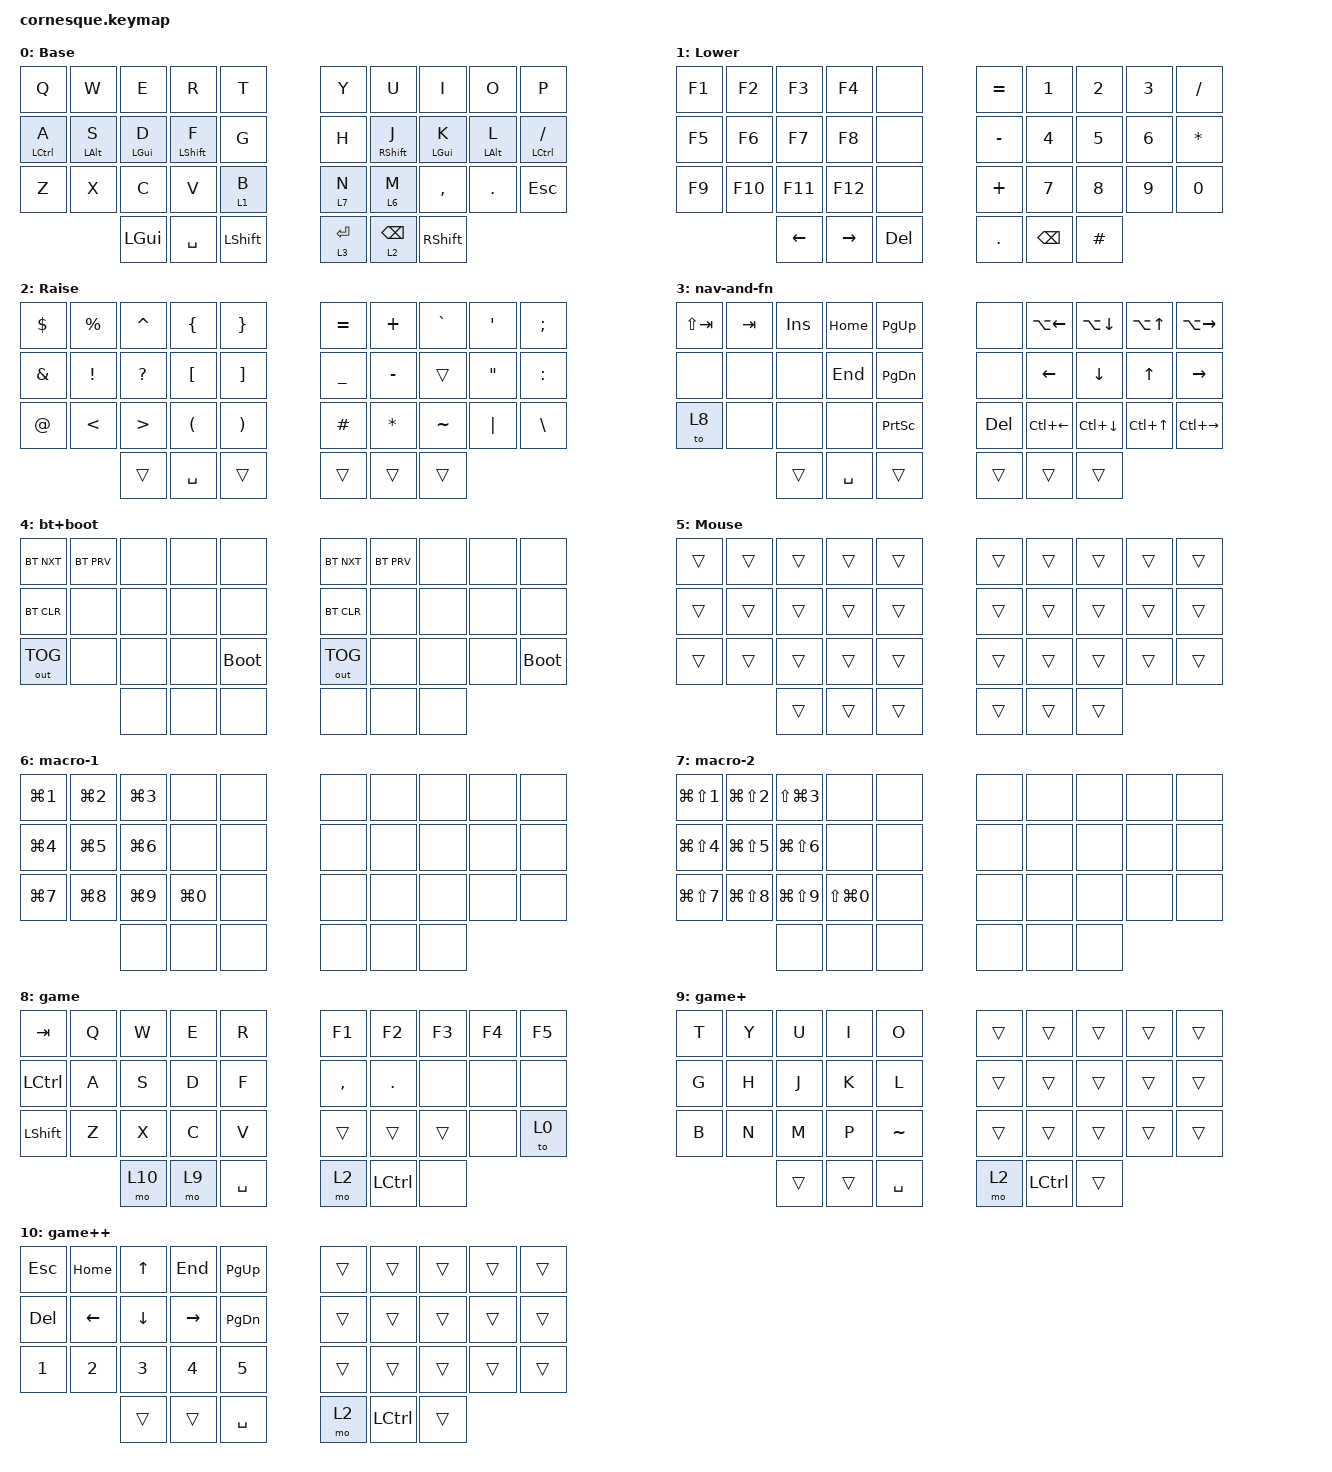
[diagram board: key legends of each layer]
/*
 * Copyright (c) 2020 The ZMK Contributors
 *
 * SPDX-License-Identifier: MIT
 */

#include <behaviors.dtsi>
#include <dt-bindings/zmk/bt.h>
#include <dt-bindings/zmk/keys.h>
#include <dt-bindings/zmk/outputs.h>

#define HM_TAPPING_TERM 300
#define HM_TAPPING_TERM_FAST 200
#define HM_PRIOR_IDLE 150
#define COMBO_TERM_FAST 35
#define COMBO_TERM_SLOW 40
#define COMBO_PRIOR_IDLE 100

/ {
    behaviors {
        lt: layer_tap {
            compatible = "zmk,behavior-hold-tap";
            #binding-cells = <2>;
            flavor = "balanced";
            tapping-term-ms = <240>;
            quick-tap-ms = <0>;
            bindings = <&mo>, <&kp>;
        };

        bhm: balanced_homerow_mods {
            compatible = "zmk,behavior-hold-tap";
            #binding-cells = <2>;
            tapping-term-ms = <HM_TAPPING_TERM>;
            quick-tap-ms = <175>;
            require-prior-idle-ms = <HM_PRIOR_IDLE>;
            flavor = "balanced";
            bindings = <&kp>, <&kp>;
        };
    };

    combos {
        compatible = "zmk,combos";

        escape {
            bindings = <&kp ESCAPE>;
            key-positions = <8 9>;
            require-prior-idle-ms = <COMBO_PRIOR_IDLE>;
        };

        tab {
            bindings = <&kp TAB>;
            key-positions = <0 1>;
            require-prior-idle-ms = <COMBO_PRIOR_IDLE>;
        };

        delete {
            bindings = <&kp DELETE>;
            key-positions = <29 28>;
            require-prior-idle-ms = <COMBO_PRIOR_IDLE>;
        };

        bt+boot_right {
            bindings = <&mo 4>;
            key-positions = <5 6 7 8>;
        };

        bt+boot_left {
            bindings = <&mo 4>;
            key-positions = <1 2 3 4>;
        };

        caps_word {
            bindings = <&caps_word>;
            key-positions = <13 16>;
        };
    };

    keymap {
        compatible = "zmk,keymap";

        Base {
            label = "Base";
            bindings = <
  &kp Q         &kp W        &kp E         &kp R          &kp T             &kp Y         &kp U               &kp I            &kp O            &kp P
  &bhm LCTRL A  &bhm LALT S  &bhm LGUI D   &bhm LSHIFT F  &kp G             &kp H         &bhm RIGHT_SHIFT J  &bhm LEFT_GUI K  &bhm LEFT_ALT L  &bhm LCTRL SLASH
  &kp Z         &kp X        &kp C         &kp V          &lt 1 B           &lt 7 N       &lt 6 M             &kp COMMA        &kp DOT          &kp ESCAPE
                             &kp LEFT_GUI  &kp SPACE      &kp LEFT_SHIFT    &lt 3 RETURN  &lt 2 BACKSPACE     &kp RIGHT_SHIFT
            >;
        };

        Lower {
            label = "Lower";
            bindings = <
  &kp F1  &kp F2   &kp F3    &kp F4     &none         &kp EQUAL   &kp N1         &kp N2    &kp N3        &kp SLASH
  &kp F5  &kp F6   &kp F7    &kp F8     &none         &kp MINUS   &kp N4         &kp N5    &kp NUMBER_6  &kp ASTRK
  &kp F9  &kp F10  &kp F11   &kp F12    &none         &kp PLUS    &kp N7         &kp N8    &kp N9        &kp N0
                   &kp LEFT  &kp RIGHT  &kp DELETE    &kp PERIOD  &kp BACKSPACE  &kp HASH
            >;
        };

        Raise {
            label = "Raise";
            bindings = <
  &kp DOLLAR  &kp PERCENT    &kp CARET         &kp LBRC   &kp RBRC    &kp EQUAL  &kp PLUS      &kp GRAVE  &kp SINGLE_QUOTE   &kp SEMICOLON
  &kp AMPS    &kp EXCL       &kp QMARK         &kp LBKT   &kp RBKT    &kp UNDER  &kp MINUS     &trans     &kp DOUBLE_QUOTES  &kp COLON
  &kp AT      &kp LESS_THAN  &kp GREATER_THAN  &kp LPAR   &kp RPAR    &kp HASH   &kp ASTERISK  &kp TILDE  &kp PIPE           &kp BACKSLASH
                             &trans            &kp SPACE  &trans      &trans     &trans        &trans
            >;
        };

        nav-and-fn {
            label = "nav-and-fn";
            bindings = <
  &kp LS(TAB)  &kp TAB  &kp INSERT  &kp HOME   &kp PAGE_UP        &none       &kp LA(LEFT)  &kp LA(DOWN)  &kp LA(UP)  &kp LA(RIGHT)
  &none        &none    &none       &kp END    &kp PAGE_DOWN      &none       &kp LEFT      &kp DOWN      &kp UP      &kp RIGHT
  &to 8        &none    &none       &none      &kp PRINTSCREEN    &kp DELETE  &kp LC(LEFT)  &kp LC(DOWN)  &kp LC(UP)  &kp LC(RIGHT)
                        &trans      &kp SPACE  &trans             &trans      &trans        &trans
            >;
        };

        bt+boot {
            label = "bt+boot";
            bindings = <
  &bt BT_NXT    &bt BT_PRV  &none  &none  &none          &bt BT_NXT    &bt BT_PRV  &none  &none  &none
  &bt BT_CLR    &none       &none  &none  &none          &bt BT_CLR    &none       &none  &none  &none
  &out OUT_TOG  &none       &none  &none  &bootloader    &out OUT_TOG  &none       &none  &none  &bootloader
                            &none  &none  &none          &none         &none       &none
            >;
        };

        Mouse {
            bindings = <
  &trans  &trans  &trans  &trans  &trans    &trans  &trans  &trans  &trans  &trans
  &trans  &trans  &trans  &trans  &trans    &trans  &trans  &trans  &trans  &trans
  &trans  &trans  &trans  &trans  &trans    &trans  &trans  &trans  &trans  &trans
                  &trans  &trans  &trans    &trans  &trans  &trans
            >;
        };

        macro-1 {
            bindings = <
  &kp LG(N1)  &kp LG(N2)  &kp LG(N3)  &none       &none    &none  &none  &none  &none  &none
  &kp LG(N4)  &kp LG(N5)  &kp LG(N6)  &none       &none    &none  &none  &none  &none  &none
  &kp LG(N7)  &kp LG(N8)  &kp LG(N9)  &kp LG(N0)  &none    &none  &none  &none  &none  &none
                          &none       &none       &none    &none  &none  &none
            >;
        };

        macro-2 {
            bindings = <
  &kp LG(LS(N1))  &kp LG(LS(N2))  &kp LS(LG(N3))  &none           &none    &none  &none  &none  &none  &none
  &kp LG(LS(N4))  &kp LG(LS(N5))  &kp LG(LS(N6))  &none           &none    &none  &none  &none  &none  &none
  &kp LG(LS(N7))  &kp LG(LS(N8))  &kp LG(LS(N9))  &kp LS(LG(N0))  &none    &none  &none  &none  &none  &none
                                  &none           &none           &none    &none  &none  &none
            >;
        };

        game {
            bindings = <
  &kp TAB     &kp Q  &kp W   &kp E  &kp R        &kp F1     &kp F2            &kp F3  &kp F4  &kp F5
  &kp LCTRL   &kp A  &kp S   &kp D  &kp F        &kp COMMA  &kp PERIOD        &none   &none   &none
  &kp LSHIFT  &kp Z  &kp X   &kp C  &kp V        &trans     &trans            &trans  &none   &to 0
                     &mo 10  &mo 9  &kp SPACE    &mo 2      &kp LEFT_CONTROL  &none
            >;
        };

        game+ {
            bindings = <
  &kp T  &kp Y  &kp U   &kp I   &kp O        &trans  &trans            &trans  &trans  &trans
  &kp G  &kp H  &kp J   &kp K   &kp L        &trans  &trans            &trans  &trans  &trans
  &kp B  &kp N  &kp M   &kp P   &kp TILDE    &trans  &trans            &trans  &trans  &trans
                &trans  &trans  &kp SPACE    &mo 2   &kp LEFT_CONTROL  &trans
            >;
        };

        game++ {
            bindings = <
  &kp ESC  &kp HOME  &kp UP    &kp END    &kp PAGE_UP      &trans  &trans            &trans  &trans  &trans
  &kp DEL  &kp LEFT  &kp DOWN  &kp RIGHT  &kp PAGE_DOWN    &trans  &trans            &trans  &trans  &trans
  &kp N1   &kp N2    &kp N3    &kp N4     &kp N5           &trans  &trans            &trans  &trans  &trans
                     &trans    &trans     &kp SPACE        &mo 2   &kp LEFT_CONTROL  &trans
            >;
        };
    };
};
